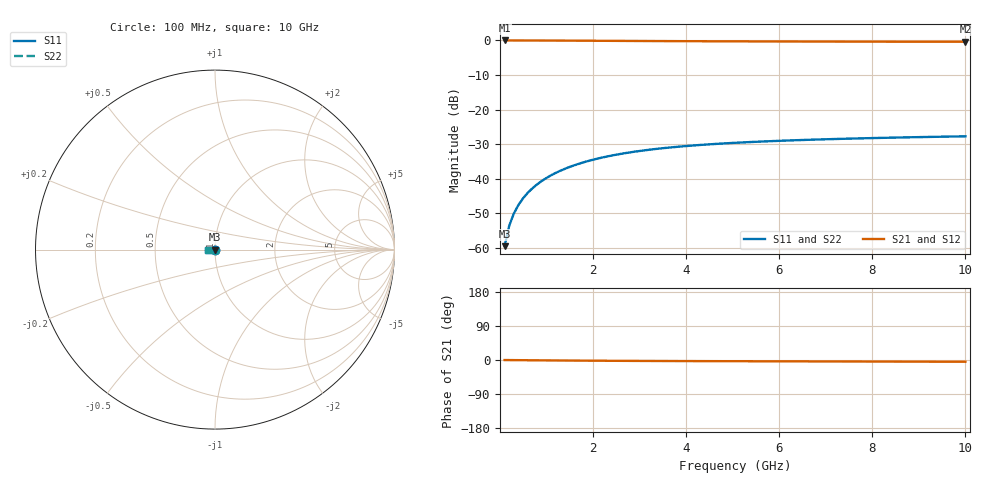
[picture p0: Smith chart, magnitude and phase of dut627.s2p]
! Touchstone file exported from HFSS 2024.1.0
!  File:  C:/UserFiles/LocalFiles/RDL_TSV_Batchsim/temp_TSV1_627_1779789827.aedt
!  Generated:  06:09:45 PM May 26, 2026
!  Design:  TSV1
!  Project:  temp_TSV1_627_1779789827
!  Setup:  Setup1
!  Solution:  Sweep
! Variables:
!  dtsv = 9.42um
!  hbump = 3um
!  htsv = 71.83um
!  lrdl = 252.1521522um
!  p = 40
!  p1 = 44.81um
!  t = 500um
!  trdl = 3um
!  wrdl = 24.89489489um
# GHz S MA R 50.000000
! Terminal data exported
! Port[1] = TSV22_T1
! Port[2] = TSV22_T2
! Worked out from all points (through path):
!   100 points, 100 MHz to 10 GHz, reference 50 ohm
!   highest |S21| = 0.00 dB at 100 MHz (marker M1); lowest = -0.4 dB at 10 GHz (marker M2)
!   lowest |S11| = -59.5 dB at 100 MHz (marker M3), VSWR 1.00, Z = 50 - j0.106 ohm
!   |S11| at or under -10 dB: start of sweep to end of sweep
!   |S22| runs from -59.5 to -27.7 dB; largest |S21 - S12| = 4.4e-15
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0.1  0.001063 -83.3  0.9998 -0.1  0.9998 -0.1  0.001063 -83.3
! Gamma 0 0 0 0
! Port Impedance 50 0 50 0
0.2  0.002114 -88.9  0.9997 -0.2  0.9997 -0.2  0.002114 -88.9
0.3  0.003169 -91.9  0.9995 -0.3  0.9995 -0.3  0.003169 -91.9
0.4  0.004221 -94.3  0.9993 -0.4  0.9993 -0.4  0.004221 -94.3
0.5  0.005265 -96.4  0.999 -0.5  0.999 -0.5  0.005265 -96.4
0.6  0.0063 -98.3  0.9987 -0.6  0.9987 -0.6  0.0063 -98.3
0.7  0.007322 -100.2  0.9983 -0.7  0.9983 -0.7  0.007322 -100.2
0.8  0.00833 -102.0  0.9978 -0.8  0.9978 -0.8  0.00833 -102.0
0.9  0.009322 -103.7  0.9973 -0.9  0.9973 -0.9  0.009322 -103.7
1.1  0.01125 -107.1  0.9962 -1.1  0.9962 -1.1  0.01125 -107.1
1.4  0.014 -111.9  0.9943 -1.4  0.9943 -1.4  0.014 -111.9
1.6  0.01572 -114.9  0.9929 -1.5  0.9929 -1.5  0.01572 -114.9
1.8  0.01735 -117.8  0.9915 -1.7  0.9915 -1.7  0.01735 -117.8
2.1  0.01962 -121.9  0.9892 -1.9  0.9892 -1.9  0.01962 -121.9
2.5  0.02234 -127.1  0.9861 -2.2  0.9861 -2.2  0.02234 -127.1
2.9  0.02471 -131.8  0.9831 -2.4  0.9831 -2.4  0.02471 -131.8
3.4  0.02724 -137.1  0.9796 -2.6  0.9796 -2.6  0.02724 -137.1
4.2  0.0305 -144.5  0.9747 -2.9  0.9747 -2.9  0.0305 -144.5
5.1  0.03329 -151.6  0.9701 -3.2  0.9701 -3.2  0.03329 -151.6
6.7  0.03678 -161.7  0.9642 -3.7  0.9642 -3.7  0.03678 -161.7
8.4  0.03933 -170.2  0.96 -4.2  0.96 -4.2  0.03933 -170.2
10  0.04117 -176.9  0.9572 -4.6  0.9572 -4.6  0.04117 -176.9
